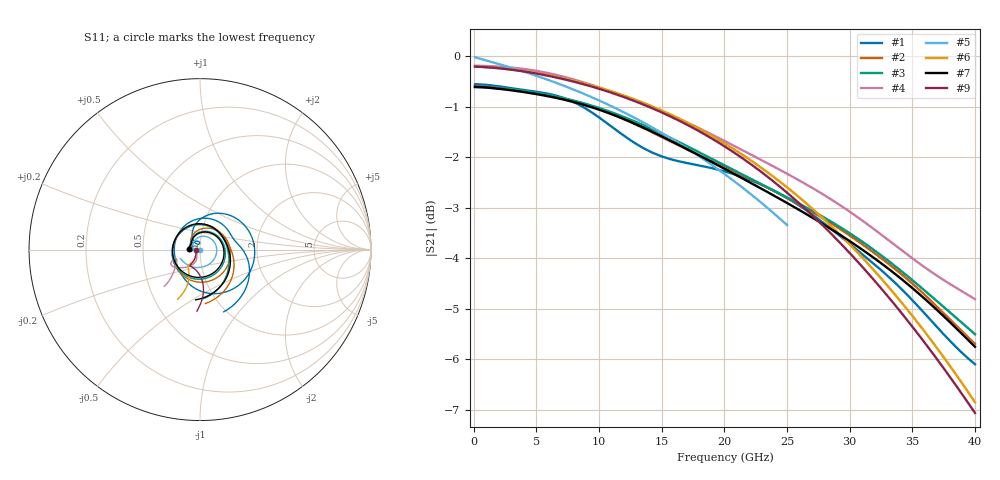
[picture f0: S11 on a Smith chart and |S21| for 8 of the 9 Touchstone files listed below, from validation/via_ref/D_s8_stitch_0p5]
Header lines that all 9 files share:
# Hz S RI R 50
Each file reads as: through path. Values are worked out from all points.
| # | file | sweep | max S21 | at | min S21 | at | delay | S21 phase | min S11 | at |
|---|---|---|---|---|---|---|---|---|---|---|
| 1 | cst.s2p | 100 MHz to 40 GHz | -0.55 dB | 100 MHz | -6.1 dB | 40 GHz | 59.2 ps | -69 deg at 20.1 GHz | -29.7 dB | 4.6 GHz |
| 2 | cst_fine.s2p | 100 MHz to 40 GHz | -0.60 dB | 200 MHz | -5.7 dB | 40 GHz | 59.7 ps | -74 deg at 20.1 GHz | -24.4 dB | 3.1 GHz |
| 3 | kisi.s2p | 100 MHz to 40 GHz | -0.61 dB | 100 MHz | -5.5 dB | 40 GHz | 59.6 ps | -73 deg at 20.1 GHz | -24.1 dB | 100 MHz |
| 4 | kisi_deembedded.s2p | 100 MHz to 40 GHz | -0.19 dB | 100 MHz | -4.8 dB | 40 GHz | 12.9 ps | -97 deg at 20.1 GHz | -32.9 dB | 100 MHz |
| 5 | kisi_model.s2p | 100 MHz to 25 GHz | -0.02 dB | 100 MHz | -3.3 dB | 25 GHz | 58.2 ps | 94 deg at 12.6 GHz | -57.2 dB | 100 MHz |
| 6 | ladder.s2p | 100 MHz to 40 GHz | -0.20 dB | 100 MHz | -6.9 dB | 40 GHz | 13.2 ps | -95 deg at 20.1 GHz | -32.8 dB | 500 MHz |
| 7 | openems.s2p | 100 MHz to 40 GHz | -0.60 dB | 100 MHz | -5.8 dB | 40 GHz | 60.3 ps | -78 deg at 20.1 GHz | -24.4 dB | 3.4 GHz |
| 8 | openems_base.s2p | 100 MHz to 40 GHz | -0.60 dB | 100 MHz | -5.8 dB | 40 GHz | 60.3 ps | -78 deg at 20.1 GHz | -24.4 dB | 3.5 GHz |
| 9 | pbm.s2p | 100 MHz to 40 GHz | -0.20 dB | 100 MHz | -7.1 dB | 40 GHz | 12.2 ps | -89 deg at 20.1 GHz | -32.7 dB | 100 MHz |
